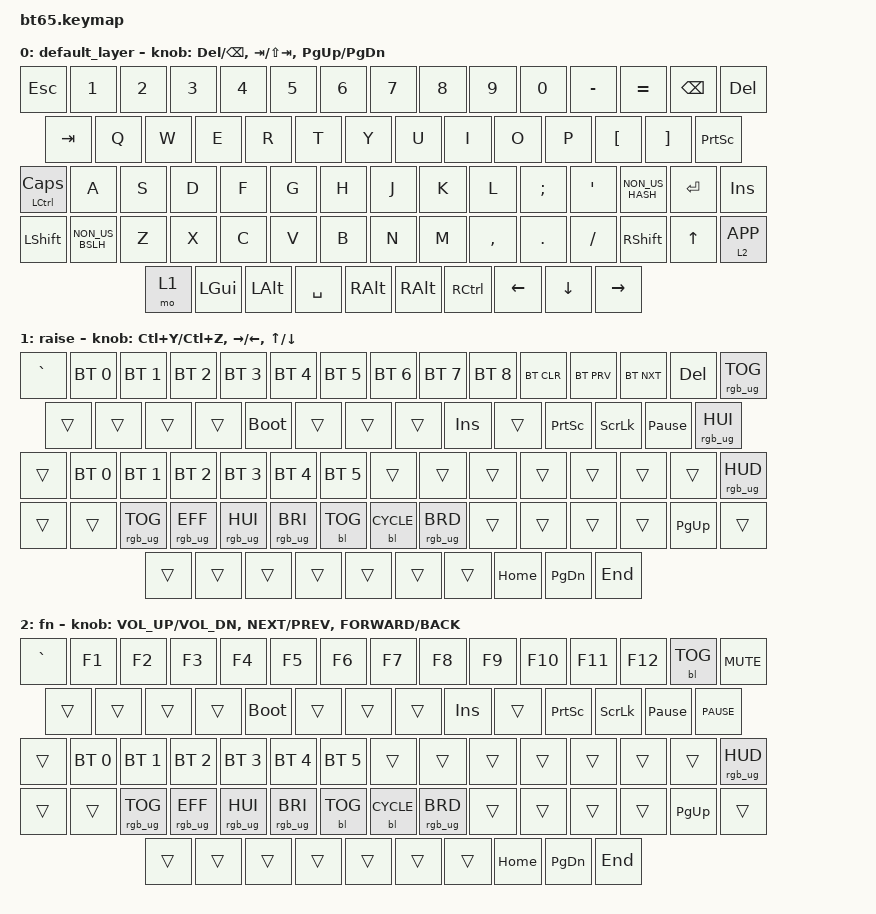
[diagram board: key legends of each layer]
#include <behaviors.dtsi>
#include <dt-bindings/zmk/keys.h>
#include <dt-bindings/zmk/bt.h>
#include <dt-bindings/zmk/rgb.h>
#include <dt-bindings/zmk/backlight.h>
#include <dt-bindings/zmk/ext_power.h>


/ {
	keymap {
		compatible = "zmk,keymap";

		default_layer {
				// ------------------------------------------------------------------------------------------------------------
				// |  `  |  1  |  2  |  3  |  4  |  5  |  6  |  7  |  8  |  9  |  0  |  -  |  =  |BKSP | INS		|
				// | TAB  |  Q  |  W  |  E  |  R  |  T  |  Y  |  U  |  I  |  O  |  P  |  [  |  ]  |   \    | DEL		|
				// | CAPS  |  A  |  S  |  D  |  F  |  G  |  H  |  J  |  K  |  L  |  ;  |  '  |     ENTER    |PGUP	|
				// |  SHIFT  |  Z  |  X  |  C  |  V  |  B  |  N  |  M  |  ,  |  .  | /   |   SHIFT  | UP   | PGDN|
				// |  CTL  |  WIN  |  ALT  |            SPACE               | ALT | 1    |  MENU| LEFT |  DOWN    | RIGHT	|
				// ------------------------------------------------------------------------------------------------------------
			bindings = <

				&kp ESC   &kp N1 &kp N2 &kp N3 &kp N4 &kp N5 &kp N6 &kp N7 &kp  N8   &kp  N9  &kp N0 &kp MINUS &kp EQUAL   &kp BKSP       &kp DEL
				&kp TAB   &kp Q  &kp W  &kp E  &kp R  &kp T  &kp Y  &kp U  &kp  I    &kp  O  &kp  P   &kp LBKT &kp RBKT  	          &kp PSCRN
				&mt LCTL CLCK &kp A  &kp S  &kp D  &kp F  &kp G  &kp H  &kp J  &kp  K    &kp  L  &kp SEMI &kp SQT &kp NON_US_HASH &kp RET &kp INS
				&kp LSHFT &kp NON_US_BSLH &kp Z  &kp X  &kp C  &kp V  &kp B  &kp N  &kp M  &kp COMMA &kp DOT &kp FSLH  &kp RSHFT &kp UP   &lt 2 K_APP
				&mo 1     &kp LGUI &kp LALT            &kp SPACE                          &kp RALT  &kp RALT &kp RCTRL &kp LEFT  &kp DOWN &kp RIGHT
			>;
			sensor-bindings = <&inc_dec_kp DEL BKSP   &inc_dec_kp TAB LS(TAB)  &inc_dec_kp PG_UP PG_DN>;
		};
		raise {
			bindings = <
				&kp GRAVE &bt BT_SEL 0 &bt BT_SEL 1 &bt BT_SEL 2 &bt BT_SEL 3 &bt BT_SEL 4 &bt BT_SEL 5 &bt BT_SEL 6 &bt BT_SEL 7 &bt BT_SEL 8 &bt BT_CLR &bt BT_PRV &bt BT_NXT &kp DEL &rgb_ug RGB_TOG
				&trans &trans &trans &trans &bootloader &trans &trans &trans &kp INS &trans &kp PSCRN &kp SLCK &kp PAUSE_BREAK  &rgb_ug RGB_HUI
				&trans &bt BT_SEL 0 &bt BT_SEL 1 &bt BT_SEL 2 &bt BT_SEL 3 &bt BT_SEL 4 &bt BT_SEL 5 &trans &trans &trans &trans  &trans &trans  &trans &rgb_ug RGB_HUD
				&trans &trans &rgb_ug RGB_TOG &rgb_ug RGB_EFF &rgb_ug RGB_HUI &rgb_ug RGB_BRI &bl BL_TOG &bl BL_CYCLE &rgb_ug RGB_BRD &trans &trans &trans  &trans &kp PG_UP &trans
				&trans &trans  &trans              &trans                            &trans   &trans   &trans &kp HOME &kp PG_DN &kp END
			>;
			sensor-bindings = <&inc_dec_kp LC(Y) LC(Z)  &inc_dec_kp RIGHT LEFT &inc_dec_kp UP DOWN>;
		};
		fn {
			bindings = <
				&kp GRAVE &kp F1 &kp F2 &kp F3 &kp F4 &kp F5 &kp F6 &kp F7 &kp  F8   &kp  F9   &kp F10  &kp F11 &kp F12 &bl BL_TOG &kp C_MUTE
				&trans &trans &trans &trans &bootloader &trans &trans &trans &kp INS &trans &kp PSCRN &kp SLCK &kp PAUSE_BREAK  &kp C_PAUSE
				&trans &bt BT_SEL 0 &bt BT_SEL 1 &bt BT_SEL 2 &bt BT_SEL 3 &bt BT_SEL 4 &bt BT_SEL 5 &trans &trans &trans &trans  &trans &trans  &trans &rgb_ug RGB_HUD
				&trans &trans &rgb_ug RGB_TOG &rgb_ug RGB_EFF &rgb_ug RGB_HUI &rgb_ug RGB_BRI &bl BL_TOG &bl BL_CYCLE &rgb_ug RGB_BRD &trans &trans &trans  &trans &kp PG_UP &trans
				&trans &trans  &trans              &trans                            &trans   &trans   &trans &kp HOME &kp PG_DN &kp END
			>;
			sensor-bindings = <&inc_dec_kp C_VOL_UP C_VOL_DN  &inc_dec_kp C_NEXT C_PREV &inc_dec_kp K_FORWARD K_BACK>;
		};
	};
};
